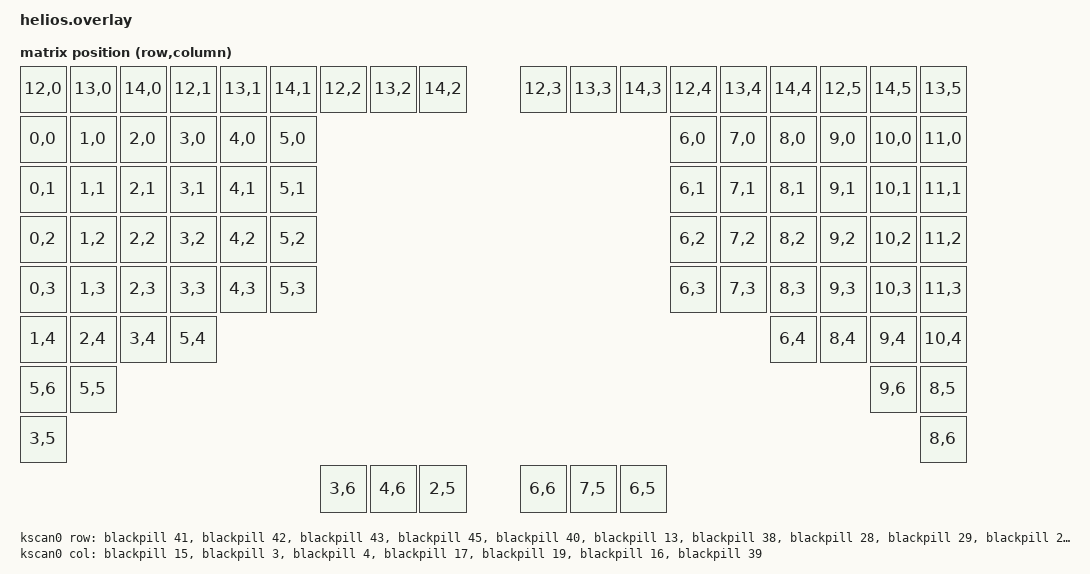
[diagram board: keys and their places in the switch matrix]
#include <dt-bindings/led/led.h>
#include <dt-bindings/zmk/matrix_transform.h>

#include "helios_layout.dtsi"

&helios_layout {
  transform = <&default_transform>;
};

/ {
    chosen {
      zmk,kscan = &kscan0;
      zmk,backlight = &backlight;
    };

    backlight: gpioleds {
      compatible = "gpio-leds";
      gpio_led_0 {
        gpios = <&blackpill 46 GPIO_ACTIVE_LOW>;
      };
      gpio_led_1 {
        gpios = <&blackpill 10 GPIO_ACTIVE_LOW>;
      };
      gpio_led_2 {
        gpios = <&blackpill 11 GPIO_ACTIVE_LOW>;
      };
      gpio_led_3 {
        gpios = <&blackpill 12 GPIO_ACTIVE_LOW>;
      };
    };

    default_transform: default_transform {
      compatible = "zmk,matrix-transform";
      columns = <7>;
      rows = <15>;
      map = <
      RC(12, 0) RC(13, 0) RC(14, 0) RC(12, 1) RC(13, 1) RC(14, 1) RC(12, 2) RC(13, 2) RC(14, 2)   RC(12, 3) RC(13, 3) RC(14, 3) RC(12, 4) RC(13, 4) RC(14, 4) RC(12, 5) RC(14, 5) RC(13, 5)
      RC( 0, 0) RC( 1, 0) RC( 2, 0) RC( 3, 0) RC( 4, 0) RC( 5, 0)                                 RC( 6, 0) RC( 7, 0) RC( 8, 0) RC( 9, 0) RC(10, 0) RC(11, 0)
      RC( 0, 1) RC( 1, 1) RC( 2, 1) RC( 3, 1) RC( 4, 1) RC( 5, 1)                                 RC( 6, 1) RC( 7, 1) RC( 8, 1) RC( 9, 1) RC(10, 1) RC(11, 1)
      RC( 0, 2) RC( 1, 2) RC( 2, 2) RC( 3, 2) RC( 4, 2) RC( 5, 2)                                 RC( 6, 2) RC( 7, 2) RC( 8, 2) RC( 9, 2) RC(10, 2) RC(11, 2)
      RC( 0, 3) RC( 1, 3) RC( 2, 3) RC( 3, 3) RC( 4, 3) RC( 5, 3)                                 RC( 6, 3) RC( 7, 3) RC( 8, 3) RC( 9, 3) RC(10, 3) RC(11, 3)
                RC( 1, 4) RC( 2, 4) RC( 3, 4) RC( 5, 4)                                                     RC( 6, 4) RC( 8, 4) RC( 9, 4) RC(10, 4)
                                                        RC( 5, 6) RC( 5, 5)             RC( 9, 6) RC( 8, 5)
                                                                  RC( 3, 5)             RC( 8, 6)
                                              RC( 3, 6) RC( 4, 6) RC( 2, 5)             RC( 6, 6) RC( 7, 5) RC( 6, 5)
      >;
    };

    kscan0: kscan_0 {
      compatible = "zmk,kscan-gpio-matrix";
      diode-direction = "col2row";
      wakeup-source;

      row-gpios
        = <&blackpill 41 (GPIO_ACTIVE_HIGH | GPIO_PULL_DOWN)>
        , <&blackpill 42 (GPIO_ACTIVE_HIGH | GPIO_PULL_DOWN)>
        , <&blackpill 43 (GPIO_ACTIVE_HIGH | GPIO_PULL_DOWN)>
        , <&blackpill 45 (GPIO_ACTIVE_HIGH | GPIO_PULL_DOWN)>
        , <&blackpill 40 (GPIO_ACTIVE_HIGH | GPIO_PULL_DOWN)>
        , <&blackpill 13 (GPIO_ACTIVE_HIGH | GPIO_PULL_DOWN)>
        , <&blackpill 38 (GPIO_ACTIVE_HIGH | GPIO_PULL_DOWN)>
        , <&blackpill 28 (GPIO_ACTIVE_HIGH | GPIO_PULL_DOWN)>
        , <&blackpill 29 (GPIO_ACTIVE_HIGH | GPIO_PULL_DOWN)>
        , <&blackpill 26 (GPIO_ACTIVE_HIGH | GPIO_PULL_DOWN)>
        , <&blackpill 25 (GPIO_ACTIVE_HIGH | GPIO_PULL_DOWN)>
        , <&blackpill 27 (GPIO_ACTIVE_HIGH | GPIO_PULL_DOWN)>
        , <&blackpill 14 (GPIO_ACTIVE_HIGH | GPIO_PULL_DOWN)>
        , <&blackpill 21 (GPIO_ACTIVE_HIGH | GPIO_PULL_DOWN)>
        , <&blackpill 18 (GPIO_ACTIVE_HIGH | GPIO_PULL_DOWN)>
        ;

      col-gpios
        = <&blackpill 15 GPIO_ACTIVE_HIGH>
        , <&blackpill 3 GPIO_ACTIVE_HIGH>
        , <&blackpill 4 GPIO_ACTIVE_HIGH>
        , <&blackpill 17 GPIO_ACTIVE_HIGH>
        , <&blackpill 19 GPIO_ACTIVE_HIGH>
        , <&blackpill 16 GPIO_ACTIVE_HIGH>
        , <&blackpill 39 GPIO_ACTIVE_HIGH>
        ;
    };
};


&flash0 {
    partitions {
        compatible = "fixed-partitions";
        #address-cells = <1>;
        #size-cells = <1>;

        boot_partition: partition@0 {
            label = "tinyuf2";
            reg = <0x00000000 DT_SIZE_K(32)>;
        };

        /*
         * Use third and fourth 16K sectors for storage
         */

        storage_partition: partition@8000 {
            label = "storage";
            reg = <0x00008000 DT_SIZE_K(32)>;
        };

        code_partition: partition@10000 {
            label = "code";
            reg = <0x00010000 (DT_SIZE_K(512 - 32 - 32))>;
            read-only;
        };

    };
};
